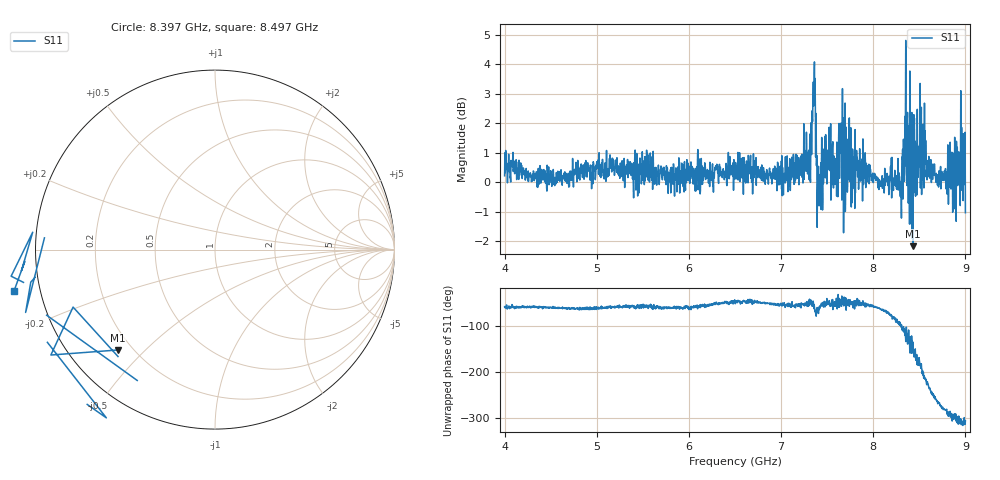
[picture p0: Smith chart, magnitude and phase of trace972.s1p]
! Created with skrf 1.8.0 (http://scikit-rf.org).
# Hz S RI R 50.0
!freq ReS11 ImS11
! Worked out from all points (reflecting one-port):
!   1601 points, 4 GHz to 9 GHz, reference 50 ohm
!   lowest |S11| = -2.2 dB at 8.431 GHz (marker M1), VSWR 8.07, Z = 7.28 - j20.8 ohm
!   phase of S11 starts at -56 deg and turns -251 deg over the sweep
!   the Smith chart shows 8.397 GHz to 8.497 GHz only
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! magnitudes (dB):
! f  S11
! 4 GHz  0.2
! 4.625 GHz  -0.1
! 5.25 GHz  0.1
! 5.875 GHz  0.1
! 6.5 GHz  0.6
! 7.125 GHz  0.8
! 7.297 GHz  1.0
! 7.356 GHz  2.9
! 7.409 GHz  -0.2
! 7.503 GHz  1.1
! 7.591 GHz  0.8
! 7.65 GHz  2.0
! 7.703 GHz  -0.1
! 7.75 GHz  0.2
! 7.784 GHz  0.1
! 7.828 GHz  0.8
! 8.281 GHz  -0.3
! 8.316 GHz  0.8
! 8.334 GHz  0.4
! 8.375 GHz  -0.1
! 8.406 GHz  1.0
! 8.431 GHz  -2.2
! 8.522 GHz  2.5
! 8.597 GHz  0.2
! 8.7 GHz  0.1
! 8.875 GHz  0.2
! 8.972 GHz  0.4
! 9 GHz  -1.0
